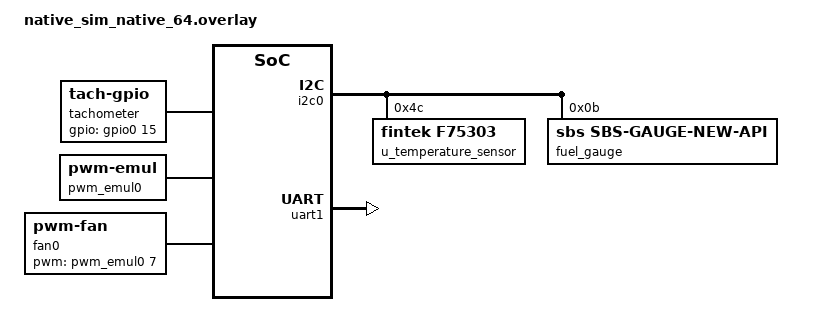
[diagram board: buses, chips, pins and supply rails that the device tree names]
/*
 * Copyright (c) 2026
 * SPDX-License-Identifier: Apache-2.0
 *
 * Devicetree overlay for the zephyr-odp sample on native_sim/native/64.
 *
 */

#include <zephyr/dt-bindings/gpio/gpio.h>

&i2c0 {
	u_temperature_sensor: f75303@4c {
		compatible = "fintek,f75303";
		reg = <0x4c>;
	};

	fuel_gauge: sbs-gauge@b {
		compatible = "sbs,sbs-gauge-new-api";
		reg = <0x0b>;
		status = "okay";
	};
};

/ {
	tachometer: tachometer {
		compatible = "zephyr,tach-gpio";
		gpios = <&gpio0 15 (GPIO_ACTIVE_HIGH | GPIO_PULL_UP)>;
		pulses-per-round = <2>;
	};

	pwm_emul0: pwm-emul {
		status = "okay";
		compatible = "zephyr,pwm-emul";
		#pwm-cells = <3>;
		frequency = <1000000>;
	};
	fan0: my-fan {
		compatible = "pwm-fan";
		pwms = <&pwm_emul0 7 40000 0>;
		max-rpm = <5000>;
		min-rpm = <0>;
		min-start-rpm = <3000>;
	};

	rs_rtc0: rs-rtc {
		compatible = "rs,rtc";
		rtc = <&rtc>;
		resolution-hz = <1>;
	};
};

app_uart: &uart1 {
	status = "okay";
};
